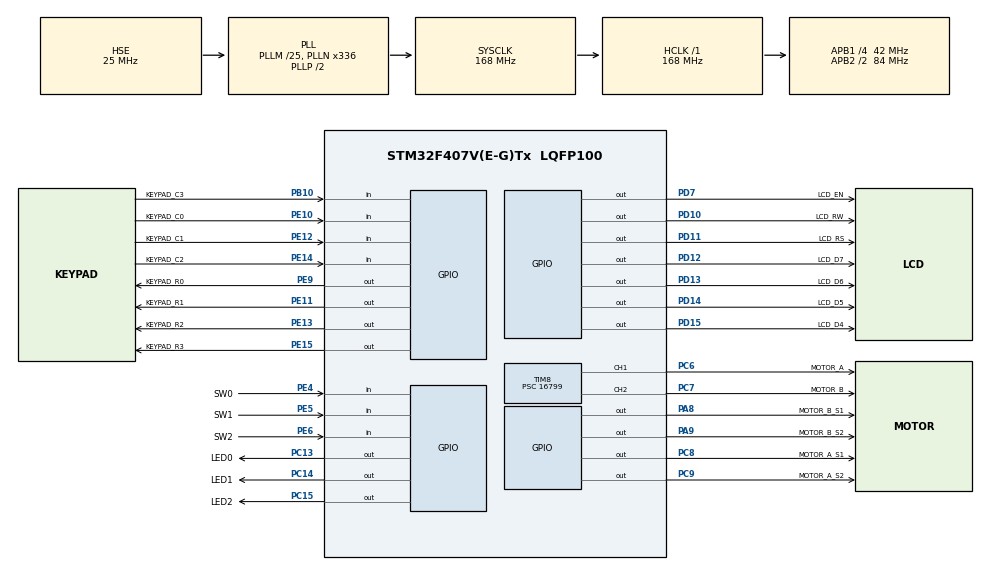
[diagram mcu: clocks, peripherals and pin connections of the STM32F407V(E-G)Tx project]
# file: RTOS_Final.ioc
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FREERTOS.Queues01=lcdQueue,16,12,1,Static,lcdQueueBuffer,lcdQueueControlBlock
FREERTOS.Tasks01=DesplayTask,24,128,DesplayDefaultTask,Default,NULL,Static,StartTaskBuffer,StartTaskControlBlock;KeypadTask,24,128,KeypadDefaultTask,Default,NULL,Static,KeypadTaskBuffer,KeypadTaskControlBlock;SensorTask,40,128,SensorDefaultTask,Default,NULL,Static,SensorTaskBuffer,SensorTaskControlBlock
Mcu.Family=STM32F4
Mcu.Name=STM32F407V(E-G)Tx
Mcu.Package=LQFP100
NVIC.PriorityGroup=NVIC_PRIORITYGROUP_4
NVIC.TIM6_DAC_IRQn=true\:15\:0\:false\:false\:true\:false\:false\:true\:true
NVIC.TimeBase=TIM6_DAC_IRQn
NVIC.TimeBaseIP=TIM6
PA13.Mode=Serial_Wire
PA13.Signal=SYS_JTMS-SWDIO
PA14.Mode=Serial_Wire
PA14.Signal=SYS_JTCK-SWCLK
PA8.GPIO_Label=MOTOR_B_S1
PA8.Signal=GPIO_Output
PA9.GPIO_Label=MOTOR_B_S2
PA9.Signal=GPIO_Output
PB10.GPIO_Label=KEYPAD_C3
PB10.GPIO_PuPd=GPIO_PULLUP
PB10.Signal=GPIO_Input
PC13-ANTI_TAMP.GPIO_Label=LED0
PC13-ANTI_TAMP.Signal=GPIO_Output
PC14-OSC32_IN.GPIO_Label=LED1
PC14-OSC32_IN.Signal=GPIO_Output
PC15-OSC32_OUT.GPIO_Label=LED2
PC15-OSC32_OUT.Signal=GPIO_Output
PC6.GPIO_Label=MOTOR_A
PC6.Signal=S_TIM8_CH1
PC7.GPIO_Label=MOTOR_B
PC7.Signal=S_TIM8_CH2
PC8.GPIO_Label=MOTOR_A_S1
PC8.Signal=GPIO_Output
PC9.GPIO_Label=MOTOR_A_S2
PC9.Signal=GPIO_Output
PD10.GPIO_Label=LCD_RW
PD10.Signal=GPIO_Output
PD11.GPIO_Label=LCD_RS
PD11.Signal=GPIO_Output
PD12.GPIO_Label=LCD_D7
PD12.Signal=GPIO_Output
PD13.GPIO_Label=LCD_D6
PD13.Signal=GPIO_Output
PD14.GPIO_Label=LCD_D5
PD14.Signal=GPIO_Output
PD15.GPIO_Label=LCD_D4
PD15.Signal=GPIO_Output
PD7.GPIO_Label=LCD_EN
PD7.Signal=GPIO_Output
PE10.GPIO_Label=KEYPAD_C0
PE10.GPIO_PuPd=GPIO_PULLUP
PE10.Signal=GPIO_Input
PE11.GPIO_Label=KEYPAD_R1
PE11.Signal=GPIO_Output
PE12.GPIO_Label=KEYPAD_C1
PE12.GPIO_PuPd=GPIO_PULLUP
PE12.Signal=GPIO_Input
PE13.GPIO_Label=KEYPAD_R2
PE13.Signal=GPIO_Output
PE14.GPIO_Label=KEYPAD_C2
PE14.GPIO_PuPd=GPIO_PULLUP
PE14.Signal=GPIO_Input
PE15.GPIO_Label=KEYPAD_R3
PE15.Signal=GPIO_Output
PE4.GPIO_Label=SW0
PE4.Signal=GPIO_Input
PE5.GPIO_Label=SW1
PE5.Signal=GPIO_Input
PE6.GPIO_Label=SW2
PE6.Signal=GPIO_Input
PE9.GPIO_Label=KEYPAD_R0
PE9.Signal=GPIO_Output
PH0-OSC_IN.Mode=HSE-External-Oscillator
PH0-OSC_IN.Signal=RCC_OSC_IN
PH1-OSC_OUT.Mode=HSE-External-Oscillator
PH1-OSC_OUT.Signal=RCC_OSC_OUT
ProjectManager.HeapSize=0x200
ProjectManager.StackSize=0x400
ProjectManager.TargetToolchain=MDK-ARM V5.32
RCC.48MHZClocksFreq_Value=84000000
RCC.AHBFreq_Value=168000000
RCC.APB1CLKDivider=RCC_HCLK_DIV4
RCC.APB1Freq_Value=42000000
RCC.APB1TimFreq_Value=84000000
RCC.APB2CLKDivider=RCC_HCLK_DIV2
RCC.APB2Freq_Value=84000000
RCC.APB2TimFreq_Value=168000000
RCC.CortexFreq_Value=168000000
RCC.HCLKFreq_Value=168000000
RCC.HSE_VALUE=25000000
RCC.HSI_VALUE=16000000
RCC.LSE_VALUE=32768
RCC.PLLM=25
RCC.PLLN=336
RCC.PLLSourceVirtual=RCC_PLLSOURCE_HSE
RCC.SYSCLKFreq_VALUE=168000000
RCC.SYSCLKSource=RCC_SYSCLKSOURCE_PLLCLK
RCC.VCOOutputFreq_Value=336000000
SH.S_TIM8_CH1.0=TIM8_CH1,PWM Generation1 CH1
SH.S_TIM8_CH2.0=TIM8_CH2,PWM Generation2 CH2
TIM8.Channel-PWM\ Generation1\ CH1=TIM_CHANNEL_1
TIM8.Channel-PWM\ Generation2\ CH2=TIM_CHANNEL_2
TIM8.Period=100
TIM8.Prescaler=16799
VP_FREERTOS_VS_CMSIS_V2.Mode=CMSIS_V2
VP_SYS_VS_tim6.Mode=TIM6
VP_TIM8_VS_ClockSourceINT.Mode=Internal
board=custom

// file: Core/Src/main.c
/* USER CODE BEGIN Header */
/**
  ******************************************************************************
  * @file           : main.c
  * @brief          : Main program body
  ******************************************************************************
  * @attention
  *
  * Copyright (c) 2022 STMicroelectronics.
  * All rights reserved.
  *
  * This software is licensed under terms that can be found in the LICENSE file
  * in the root directory of this software component.
  * If no LICENSE file comes with this software, it is provided AS-IS.
  *
  ******************************************************************************
  */
/* USER CODE END Header */
#include "main.h"
#include "cmsis_os.h"
#include "tim.h"
#include "gpio.h"

void SystemClock_Config(void);
void MX_FREERTOS_Init(void);

int main(void)
{

  /* MCU Configuration--------------------------------------------------------*/

  /* Reset of all peripherals, Initializes the Flash interface and the Systick. */
  HAL_Init();

  /* Configure the system clock */
  SystemClock_Config();

  /* Initialize all configured peripherals */
  MX_GPIO_Init();
  MX_TIM8_Init();

  /* Init scheduler */
  osKernelInitialize();  /* Call init function for freertos objects (in freertos.c) */
  MX_FREERTOS_Init();

  /* Start scheduler */
  osKernelStart();

  /* We should never get here as control is now taken by the scheduler */
  /* Infinite loop */
  while (1)
  {

  }
}

void SystemClock_Config(void)
{
  RCC_OscInitTypeDef RCC_OscInitStruct = {0};
  RCC_ClkInitTypeDef RCC_ClkInitStruct = {0};

  /** Configure the main internal regulator output voltage
  */
  __HAL_RCC_PWR_CLK_ENABLE();
  __HAL_PWR_VOLTAGESCALING_CONFIG(PWR_REGULATOR_VOLTAGE_SCALE1);

  /** Initializes the RCC Oscillators according to the specified parameters
  * in the RCC_OscInitTypeDef structure.
  */
  RCC_OscInitStruct.OscillatorType = RCC_OSCILLATORTYPE_HSE;
  RCC_OscInitStruct.HSEState = RCC_HSE_ON;
  RCC_OscInitStruct.PLL.PLLState = RCC_PLL_ON;
  RCC_OscInitStruct.PLL.PLLSource = RCC_PLLSOURCE_HSE;
  RCC_OscInitStruct.PLL.PLLM = 25;
  RCC_OscInitStruct.PLL.PLLN = 336;
  RCC_OscInitStruct.PLL.PLLP = RCC_PLLP_DIV2;
  RCC_OscInitStruct.PLL.PLLQ = 4;
  if (HAL_RCC_OscConfig(&RCC_OscInitStruct) != HAL_OK)
  {
    Error_Handler();
  }

  /** Initializes the CPU, AHB and APB buses clocks
  */
  RCC_ClkInitStruct.ClockType = RCC_CLOCKTYPE_HCLK|RCC_CLOCKTYPE_SYSCLK
                              |RCC_CLOCKTYPE_PCLK1|RCC_CLOCKTYPE_PCLK2;
  RCC_ClkInitStruct.SYSCLKSource = RCC_SYSCLKSOURCE_PLLCLK;
  RCC_ClkInitStruct.AHBCLKDivider = RCC_SYSCLK_DIV1;
  RCC_ClkInitStruct.APB1CLKDivider = RCC_HCLK_DIV4;
  RCC_ClkInitStruct.APB2CLKDivider = RCC_HCLK_DIV2;

  if (HAL_RCC_ClockConfig(&RCC_ClkInitStruct, FLASH_LATENCY_5) != HAL_OK)
  {
    Error_Handler();
  }
}

void HAL_TIM_PeriodElapsedCallback(TIM_HandleTypeDef *htim)
{
  if (htim->Instance == TIM6) {
    HAL_IncTick();
  }
}

void Error_Handler(void)
{
  __disable_irq();
  while (1)
  {
  }
}

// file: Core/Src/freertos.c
/* USER CODE BEGIN Header */
/**
  ******************************************************************************
  * File Name          : freertos.c
  * Description        : Code for freertos applications
  ******************************************************************************
  * @attention
  *
  * Copyright (c) 2022 STMicroelectronics.
  * All rights reserved.
  *
  * This software is licensed under terms that can be found in the LICENSE file
  * in the root directory of this software component.
  * If no LICENSE file comes with this software, it is provided AS-IS.
  *
  ******************************************************************************
  */
/* USER CODE END Header */

#include "FreeRTOS.h"
#include "task.h"
#include "main.h"
#include "cmsis_os.h"

/* USER CODE BEGIN Includes */
#include "LCD.h"
#include "keypad_4x4.h"
#include "string.h"
#include "stdlib.h"
#include "stdio.h"
#include "motor_dc.h"
#include "menu.h"
#include "eeprom.h"
/* USER CODE END Includes */

typedef StaticTask_t osStaticThreadDef_t;
typedef StaticQueue_t osStaticMessageQDef_t;

/* Definitions for DesplayTask */
osThreadId_t DesplayTaskHandle;
uint32_t StartTaskBuffer[ 128 ];
osStaticThreadDef_t StartTaskControlBlock;
const osThreadAttr_t DesplayTask_attributes = {
  .name = "DesplayTask",
  .cb_mem = &StartTaskControlBlock,
  .cb_size = sizeof(StartTaskControlBlock),
  .stack_mem = &StartTaskBuffer[0],
  .stack_size = sizeof(StartTaskBuffer),
  .priority = (osPriority_t) osPriorityNormal,
};
/* Definitions for KeypadTask */
osThreadId_t KeypadTaskHandle;
uint32_t KeypadTaskBuffer[ 128 ];
osStaticThreadDef_t KeypadTaskControlBlock;
const osThreadAttr_t KeypadTask_attributes = {
  .name = "KeypadTask",
  .cb_mem = &KeypadTaskControlBlock,
  .cb_size = sizeof(KeypadTaskControlBlock),
  .stack_mem = &KeypadTaskBuffer[0],
  .stack_size = sizeof(KeypadTaskBuffer),
  .priority = (osPriority_t) osPriorityNormal,
};
/* Definitions for SensorTask */
osThreadId_t SensorTaskHandle;
uint32_t SensorTaskBuffer[ 128 ];
osStaticThreadDef_t SensorTaskControlBlock;
const osThreadAttr_t SensorTask_attributes = {
  .name = "SensorTask",
  .cb_mem = &SensorTaskControlBlock,
  .cb_size = sizeof(SensorTaskControlBlock),
  .stack_mem = &SensorTaskBuffer[0],
  .stack_size = sizeof(SensorTaskBuffer),
  .priority = (osPriority_t) osPriorityHigh,
};
/* Definitions for lcdQueue */
osMessageQueueId_t lcdQueueHandle;
uint8_t lcdQueueBuffer[ 16 * 12 ];
osStaticMessageQDef_t lcdQueueControlBlock;
const osMessageQueueAttr_t lcdQueue_attributes = {
  .name = "lcdQueue",
  .cb_mem = &lcdQueueControlBlock,
  .cb_size = sizeof(lcdQueueControlBlock),
  .mq_mem = &lcdQueueBuffer,
  .mq_size = sizeof(lcdQueueBuffer)
};

void DesplayDefaultTask(void *argument);
void KeypadDefaultTask(void *argument);
void SensorDefaultTask(void *argument);

void MX_FREERTOS_Init(void); /* (MISRA C 2004 rule 8.1) */

void MX_FREERTOS_Init(void) {

  /* Create the queue(s) */
  /* creation of lcdQueue */
  lcdQueueHandle = osMessageQueueNew (16, 12, &lcdQueue_attributes);

  /* Create the thread(s) */
  /* creation of DesplayTask */
  DesplayTaskHandle = osThreadNew(DesplayDefaultTask, NULL, &DesplayTask_attributes);

}

void DesplayDefaultTask(void *argument)
{
  /* USER CODE BEGIN DesplayDefaultTask */

	menu_MessageQueue_t RecQueMes = {0};

	LCD_Init();
	osDelay(2);
	menu_init();
	menu_page_init(MENU_MAIN_PAGE);

  /* creation of KeypadTask */
  KeypadTaskHandle = osThreadNew(KeypadDefaultTask, NULL, &KeypadTask_attributes);

  /* Infinite loop */
  while(1)
  {

		osMessageQueueGet(lcdQueueHandle, &RecQueMes, 0, osWaitForever);
    // LastQueMes = &RecQueMes;
		menu_process(&RecQueMes);

    //osDelay(100);
  }
  /* USER CODE END DesplayDefaultTask */
}

void KeypadDefaultTask(void *argument)
{
  /* USER CODE BEGIN KeypadDefaultTask */

//	LastQueMes = &TrsQueMes;

	keypad_init(FALLING_EDGE);

	/* creation of SensorTask */
  SensorTaskHandle = osThreadNew(SensorDefaultTask, NULL, &SensorTask_attributes);

	osDelay(100);

	/* Infinite loop */
  while(1)
  {
		keypad_process();

		static uint8_t hart_beat = 0;
		if(hart_beat++ >= 5)
		{
			hart_beat = 0;
			HAL_GPIO_TogglePin(LED2_GPIO_Port, LED2_Pin);
		}
    osDelay(100);
  }
  /* USER CODE END KeypadDefaultTask */
}

/* USER CODE BEGIN Header_SensorDefaultTask */
/**
* @brief Function implementing the SensorTask thread.
* @param argument: Not used
* @retval None
*/
menu_MessageQueue_t TrsQueMes;
/* USER CODE END Header_SensorDefaultTask */
void SensorDefaultTask(void *argument)
{
  /* USER CODE BEGIN SensorDefaultTask */
	TrsQueMes.current_PF = motor_dc_get_pf(MOTOR_A);
	TrsQueMes.product_num = 0;

	motor_dc_init();
	osDelay(100);

  /* Infinite loop */
  while(1)
  {

		if(need_res_prod_num)
		{
			need_res_prod_num = 0;
			TrsQueMes.product_num = 0;
		}

		if(HAL_GPIO_ReadPin(SW0_GPIO_Port, SW0_Pin) == GPIO_PIN_RESET) //por shod sensor :)
		{
			TrsQueMes.rq_status = CH_PRODUCT_NUM;
			TrsQueMes.product_num++;
			osMessageQueuePut(lcdQueueHandle, &TrsQueMes, NULL, 50);

			motor_dc_set_status(MOTOR_B, DIR_STOP);
			osDelay(200);
			motor_dc_set_status(MOTOR_A, DIR_RIGHT);

		}
		else if(HAL_GPIO_ReadPin(SW1_GPIO_Port, SW1_Pin) == GPIO_PIN_RESET) //resid sensor :)
		{
			motor_dc_set_status(MOTOR_A, DIR_STOP);
			osDelay(200);
			motor_dc_set_status(MOTOR_B, DIR_RIGHT);

		}
		else if(HAL_GPIO_ReadPin(SW2_GPIO_Port, SW2_Pin) == GPIO_PIN_RESET) //debug :)
		{
			//osDelay(100);
		}
		else
		{
		}

    osDelay(100);
  }
  /* USER CODE END SensorDefaultTask */
}
